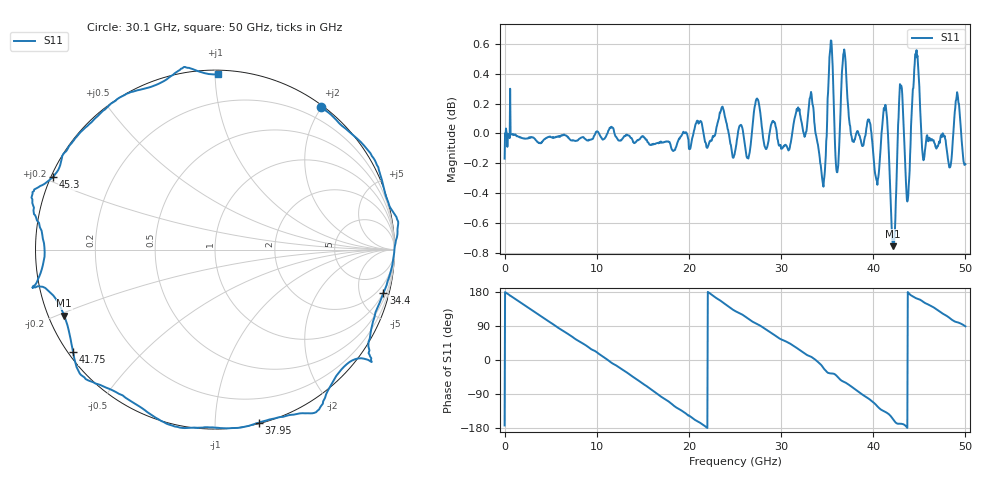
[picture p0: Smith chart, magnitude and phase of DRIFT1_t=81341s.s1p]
!Created with skrf (http://scikit-rf.org).
# Hz S RI R 50.0
!freq ReS11 ImS11
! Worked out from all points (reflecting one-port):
!   1001 points, 300 kHz to 50 GHz, reference 50 ohm
!   lowest |S11| = -0.8 dB at 42.15 GHz (marker M1), VSWR 23.12, Z = 2.26 - j10.5 ohm
!   phase of S11 starts at -173 deg and turns -818 deg over the sweep
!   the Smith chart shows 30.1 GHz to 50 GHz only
!   S11 on the Smith chart (normalised r, x): 30.1 GHz: 0.03, +1.99; 34.4 GHz: 0.98, -7.76; 37.95 GHz: 0.01, -1.28; 41.75 GHz: 0.01, -0.32; 45.3 GHz: 0.01, +0.21; 50 GHz: 0.02, +1.02
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300000  -0.973 -0.1236
1.450291e9  -0.9124 0.404
3.25028e9  -0.5932 0.8002
6.250262e9  0.1987 0.9788
9.500243e9  0.8875 0.4517
1.250022e10  0.9301 -0.3521
1.580021e10  0.2422 -0.9613
1.74002e10  -0.2234 -0.968
1.875019e10  -0.5986 -0.7922
2.160017e10  -0.9906 -0.1376
2.345016e10  -0.9298 0.4127
2.500015e10  -0.6263 0.7617
2.745014e10  -0.0825 1.023
3.010012e10  0.5904 0.7935
3.125011e10  0.7813 0.6279
3.32001e10  1.016 0.1645
3.440009e10  0.9384 -0.2419
3.520009e10  0.8642 -0.5956
3.750008e10  0.3778 -0.932
3.795007e10  0.244 -0.965
3.965006e10  -0.2554 -0.9753
4.175005e10  -0.7913 -0.5694
4.215005e10  -0.8398 -0.3686
4.290004e10  -1.017 -0.2116
4.375004e10  -0.9503 0.0111
4.530003e10  -0.9017 0.4057
4.765001e10  -0.5115 0.8571
5e10  0.0195 0.9765
